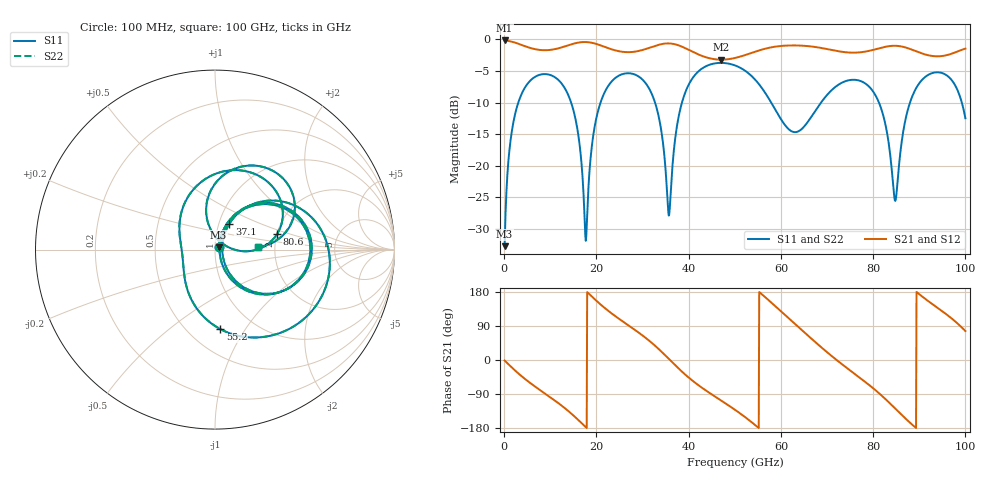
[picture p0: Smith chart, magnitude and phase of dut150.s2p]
! Touchstone file exported from HFSS 2026.1.0
!  File:  C:/ffzhzh/LocalFiles/Ansys_Project_Files/temp_test_TSV_RDL_150_1783463937_41684.aedt
!  Generated:  06:49:40 AM Jul  8, 2026
!  Design:  TSV_RDL
!  Project:  temp_test_TSV_RDL_150_1783463937_41684
! Variables:
!  h_bsmrdl = 4.08um
!  h_ox = 20um
!  h_rdl = 5um
!  h_sub = 87.14um
!  h_tmrdl = 2.61um
!  h_tsv = 87.14um
!  h_via = 3um
!  l_bsmrdl = 681.29um
!  l_sub = 3199.38um
!  l_tmrdl = 166.4um
!  m_sub = 200um
!  pitch = 41.03um
!  r_tsv = 8.01um
!  s_tmrdl = 10um
!  w_bsmrdl = 14.83um
!  w_sub = 500um
!  w_tmrdl = 15.14um
!  x_tsv_center1 = 173.97um
!  x_tsv_center2 = 870.09um
!  x_tsv_center3 = 1051.63um
!  x_tsv_center4 = 1747.75um
!  x_tsv_center5 = 1929.29um
!  x_tsv_center6 = 2625.41um
# GHz S MA R 50.000000
! Terminal data exported
! Port[1] = TM_RDL1_1_T1
! Port[2] = TM_RDL5_1_T1
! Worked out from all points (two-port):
!   1000 points, 100 MHz to 100 GHz, reference 50 ohm
!   highest |S21| = -0.17 dB at 100 MHz (marker M1); lowest = -3.2 dB at 47.1 GHz (marker M2)
!   |S21| within 3 dB of the highest: start of sweep to 45.99 GHz; 48.2 GHz to end of sweep
!   lowest |S11| = -32.7 dB at 100 MHz (marker M3), VSWR 1.05, Z = 52 + j1.24 ohm
!   |S11| at or under -10 dB: 14.52 GHz to 20.9 GHz (6.381 GHz wide, 36 % of centre); 57.89 GHz to 68.71 GHz (10.82 GHz wide, 17.1 % of centre); 81.26 GHz to 87.99 GHz (6.735 GHz wide, 7.96 % of centre) (the widest 3 of 6)
!   |S22| runs from -32.7 to -3.7 dB; largest |S21 - S12| = 1.5e-13
!   S11 on the Smith chart (normalised r, x): 100 MHz: 1.04, +0.02; 37.1 GHz: 1.12, +0.34; 55.2 GHz: 0.71, -0.78; 80.6 GHz: 2.00, +0.39; 100 GHz: 1.62, +0.05
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0.1  0.02305 31.1  0.9804 -1.2  0.9804 -1.2  0.02305 31.1
! Gamma 0 0 0 0
! Port Impedance 50 0 50 0
2.1  0.2301 59.2  0.9487 -24.7  0.9487 -24.7  0.2301 59.2
6.3  0.4936 20.7  0.8431 -66.5  0.8431 -66.5  0.4937 20.7
13.4  0.3954 -39.0  0.8854 -129.5  0.8854 -129.5  0.3955 -39.0
16.8  0.1015 -64.3  0.9505 -166.7  0.9505 -166.7  0.1014 -64.7
17.8  0.02747 22.1  0.9523 -178.4  0.9523 -178.4  0.02683 22.5
19.9  0.2298 60.0  0.9218 157.4  0.9218 157.4  0.2297 60.1
24  0.4912 23.9  0.8199 116.6  0.8199 116.6  0.4912 24.0
33.4  0.2551 -53.4  0.904 30.1  0.904 30.1  0.2552 -53.3
35.7  0.04024 -1.4  0.9289 3.0  0.9289 3.0  0.04026 -1.5
37.1  0.1661 61.0  0.9133 -13.9  0.9133 -13.9  0.166 61.0
47.1  0.6514 -18.0  0.6909 -107.4  0.6909 -107.4  0.6513 -18.0
50.1  0.621 -41.1  0.7131 -131.8  0.7131 -131.8  0.6209 -41.0
55.2  0.4441 -86.2  0.8157 -179.6  0.8157 -179.6  0.444 -86.1
61.6  0.1958 -154.7  0.8941 111.1  0.8941 111.1  0.1958 -154.4
66.7  0.2469 143.0  0.8777 55.4  0.8777 55.4  0.2468 143.3
72.8  0.445 81.1  0.8017 -6.9  0.8017 -6.9  0.445 81.3
80.6  0.3557 13.9  0.8365 -80.6  0.8365 -80.6  0.3557 14.0
83.4  0.1483 -3.2  0.8833 -111.5  0.8833 -111.5  0.1483 -3.3
84.9  0.05395 61.9  0.8897 -129.4  0.8897 -129.4  0.05333 62.0
89.6  0.4273 82.0  0.7971 177.6  0.7971 177.6  0.427 82.3
100  0.2374 3.6  0.8455 76.5  0.8455 76.5  0.2378 4.1
